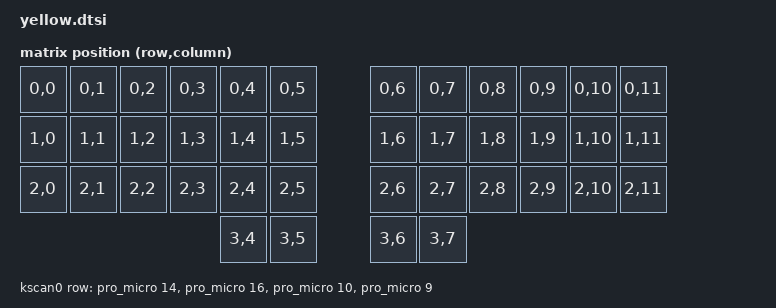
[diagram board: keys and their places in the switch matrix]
/*
 * Copyright (c) 2020 The ZMK Contributors
 *
 * SPDX-License-Identifier: MIT
 */

#include <dt-bindings/zmk/matrix_transform.h>

/ {
    chosen {
        zmk,kscan = &kscan0;
        zmk,matrix-transform = &default_transform;
    };

    default_transform: keymap_transform_0 {
        compatible = "zmk,matrix-transform";
        columns = <12>;
        rows = <4>;
        map = <
        RC(0,0) RC(0,1) RC(0,2) RC(0,3) RC(0,4) RC(0,5)                   RC(0,6) RC(0,7) RC(0,8) RC(0,9) RC(0,10) RC(0,11)
        RC(1,0) RC(1,1) RC(1,2) RC(1,3) RC(1,4) RC(1,5)                   RC(1,6) RC(1,7) RC(1,8) RC(1,9) RC(1,10) RC(1,11)
        RC(2,0) RC(2,1) RC(2,2) RC(2,3) RC(2,4) RC(2,5)                   RC(2,6) RC(2,7) RC(2,8) RC(2,9) RC(2,10) RC(2,11)
                                        RC(3,4) RC(3,5)                   RC(3,6) RC(3,7) 
        >;
    };

    kscan0: kscan {
        compatible = "zmk,kscan-gpio-matrix";
        wakeup-source;

        // rows:   0,   1,   2,   3
        // rows: 111, 010, 009, 106
        // rows: D14, D16, D10,  D9
        diode-direction = "col2row";
        row-gpios
            = <&pro_micro 14 (GPIO_ACTIVE_HIGH | GPIO_PULL_DOWN)>
            , <&pro_micro 16 (GPIO_ACTIVE_HIGH | GPIO_PULL_DOWN)>
            , <&pro_micro 10 (GPIO_ACTIVE_HIGH | GPIO_PULL_DOWN)>
            , <&pro_micro  9 (GPIO_ACTIVE_HIGH | GPIO_PULL_DOWN)>
            ;
    };
};


/*
/ {
    leds {
        compatible = "gpio-leds";
        user_led: led_0 {
            gpios = <&gpio0 15 GPIO_ACTIVE_HIGH>; // Example for nice!nano 
            label = "User LED";
        };
    };
    aliases {
        indicator-led = &user_led;
    };
};
*/

/*

// https://github.com/davidphilipbarr/nicehatharry/tree/main/boards/shields/nicehatharry
&pinctrl {
    spi0_default: spi0_default {
        group1 {
            psels = <NRF_PSEL(SPIM_SCK, 1, 2)>,
                <NRF_PSEL(SPIM_MOSI, 1, 7)>,
                <NRF_PSEL(SPIM_MISO, 0, 19)>; // GPIO0 19 is not broken on a nice!nano.
        };
    };
    spi0_sleep: spi0_sleep {
        group1 {
            psels = <NRF_PSEL(SPIM_SCK, 1, 2)>,
                <NRF_PSEL(SPIM_MOSI, 1, 7)>,
                <NRF_PSEL(SPIM_MISO, 0, 19)>; // GPIO0 19 is not broken on a nice!nano.
            low-power-enable;
        };
    };
};

nice_view_spi: &spi0 {
    compatible = "nordic,nrf-spim";
    pinctrl-0 = <&spi0_default>;
    pinctrl-1 = <&spi0_sleep>;
    pinctrl-names = "default", "sleep";
    cs-gpios = <&gpio1 1 GPIO_ACTIVE_HIGH>;
};
*/

/* &spi0 { */
/*     status = "okay"; */
/**/
/*     oled: ssd1306@3c { */
/*         compatible = "solomon,ssd1306fb"; */
/*         reg = <0x3C>; */
/*         cs-gpios = <&gpio0 6 GPIO_ACTIVE_LOW>; // Change 6 to your desired CS pin */
/*         reset-gpios = <&gpio0 5 GPIO_ACTIVE_LOW>; // If applicable */
/*         width = <128>; */
/*         height = <64>; */
/*         segment-offset = <0>; */
/*         page-offset = <0>; */
/*         display-offset = <0>; */
/*         rotate = <0>; // Use 90, 180, or 270 to rotate if needed */
/*     }; */
/* }; */
